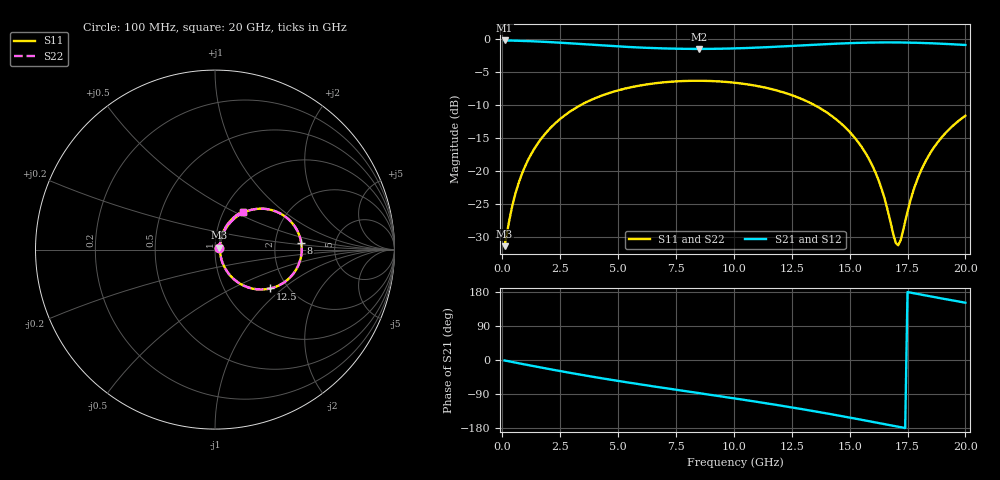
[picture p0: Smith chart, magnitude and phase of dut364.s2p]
! Touchstone file exported from HFSS 2026.1.0
!  File:  C:/ffzhzh/LocalFiles/Ansys_Project_Files/temp_train_TSV_RDL_364_1783039265_46388.aedt
!  Generated:  08:54:49 AM Jul  3, 2026
!  Design:  TSV_RDL
!  Project:  temp_train_TSV_RDL_364_1783039265_46388
! Variables:
!  h_bsmrdl = 5.81um
!  h_ox = 20um
!  h_rdl = 5um
!  h_sub = 96.62um
!  h_tmrdl = 2.89um
!  h_tsv = 96.62um
!  h_via = 3um
!  l_bsmrdl = 466.99um
!  l_sub = 3244.66um
!  l_tmrdl = 343.47um
!  m_sub = 200um
!  pitch = 29.25um
!  r_tsv = 4.89um
!  s_tmrdl = 10um
!  w_bsmrdl = 10.58um
!  w_sub = 500um
!  w_tmrdl = 12.69um
!  x_tsv_center1 = 349.815um
!  x_tsv_center2 = 827.385um
!  x_tsv_center3 = 1183.545um
!  x_tsv_center4 = 1661.115um
!  x_tsv_center5 = 2017.275um
!  x_tsv_center6 = 2494.845um
# GHz S MA R 50.000000
! Terminal data exported
! Port[1] = TM_RDL1_1_T1
! Port[2] = TM_RDL5_1_T1
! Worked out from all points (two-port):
!   200 points, 100 MHz to 20 GHz, reference 50 ohm
!   highest |S21| = -0.22 dB at 100 MHz (marker M1); lowest = -1.5 dB at 8.5 GHz (marker M2)
!   |S21| within 3 dB of the highest: start of sweep to end of sweep
!   lowest |S11| = -31.4 dB at 100 MHz (marker M3), VSWR 1.06, Z = 52.5 + j1.14 ohm
!   |S11| at or under -10 dB: start of sweep to 3.386 GHz; 13.48 GHz to end of sweep
!   |S22| runs from -31.4 to -6.3 dB; largest |S21 - S12| = 1.9e-14
!   S11 on the Smith chart (normalised r, x): 100 MHz: 1.05, +0.02; 8 GHz: 2.83, +0.26; 12.5 GHz: 1.63, -0.82; 20 GHz: 1.23, +0.56
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0.1  0.02704 23.7  0.9754 -1.2  0.9754 -1.2  0.02704 23.7
! Gamma 0 0 0 0
! Port Impedance 50 0 50 0
0.6  0.07083 60.5  0.971 -7.3  0.971 -7.3  0.07083 60.5
1.2  0.1299 63.0  0.9634 -14.4  0.9634 -14.4  0.1299 63.0
2.2  0.2229 56.4  0.9449 -25.9  0.9449 -25.9  0.2229 56.4
3.5  0.3241 44.4  0.9141 -40.0  0.9141 -40.0  0.3241 44.4
5  0.4086 30.4  0.8796 -55.2  0.8796 -55.2  0.4086 30.4
6.8  0.4669 14.5  0.8508 -72.1  0.8508 -72.1  0.4669 14.5
8  0.4821 4.2  0.8425 -83.0  0.8425 -83.0  0.4821 4.2
8.5  0.4832 -0.1  0.8417 -87.5  0.8417 -87.5  0.4832 -0.1
10.1  0.4656 -13.8  0.8499 -102.0  0.8499 -102.0  0.4656 -13.8
12.5  0.3761 -35.1  0.8864 -125.1  0.8864 -125.1  0.3761 -35.1
13.4  0.3217 -43.4  0.9037 -134.4  0.9037 -134.4  0.3217 -43.4
14.6  0.232 -54.1  0.925 -147.4  0.925 -147.4  0.232 -54.1
15.5  0.1541 -60.4  0.9367 -157.6  0.9367 -157.6  0.1541 -60.4
16.2  0.08993 -60.7  0.9418 -165.6  0.9418 -165.6  0.08991 -60.8
16.7  0.04612 -47.6  0.943 -171.5  0.943 -171.5  0.04608 -47.7
17  0.02847 -13.2  0.9426 -174.9  0.9426 -174.9  0.02841 -13.2
17.1  0.02748 5.8  0.9423 -176.1  0.9423 -176.1  0.02741 5.8
17.8  0.07525 62.2  0.9377 175.8  0.9377 175.8  0.07522 62.3
18.3  0.1205 64.9  0.9319 170.0  0.9319 170.0  0.1205 65.0
19  0.1823 61.8  0.921 162.1  0.921 162.1  0.1823 61.8
20  0.2625 53.9  0.9014 151.2  0.9014 151.2  0.2625 54.0
